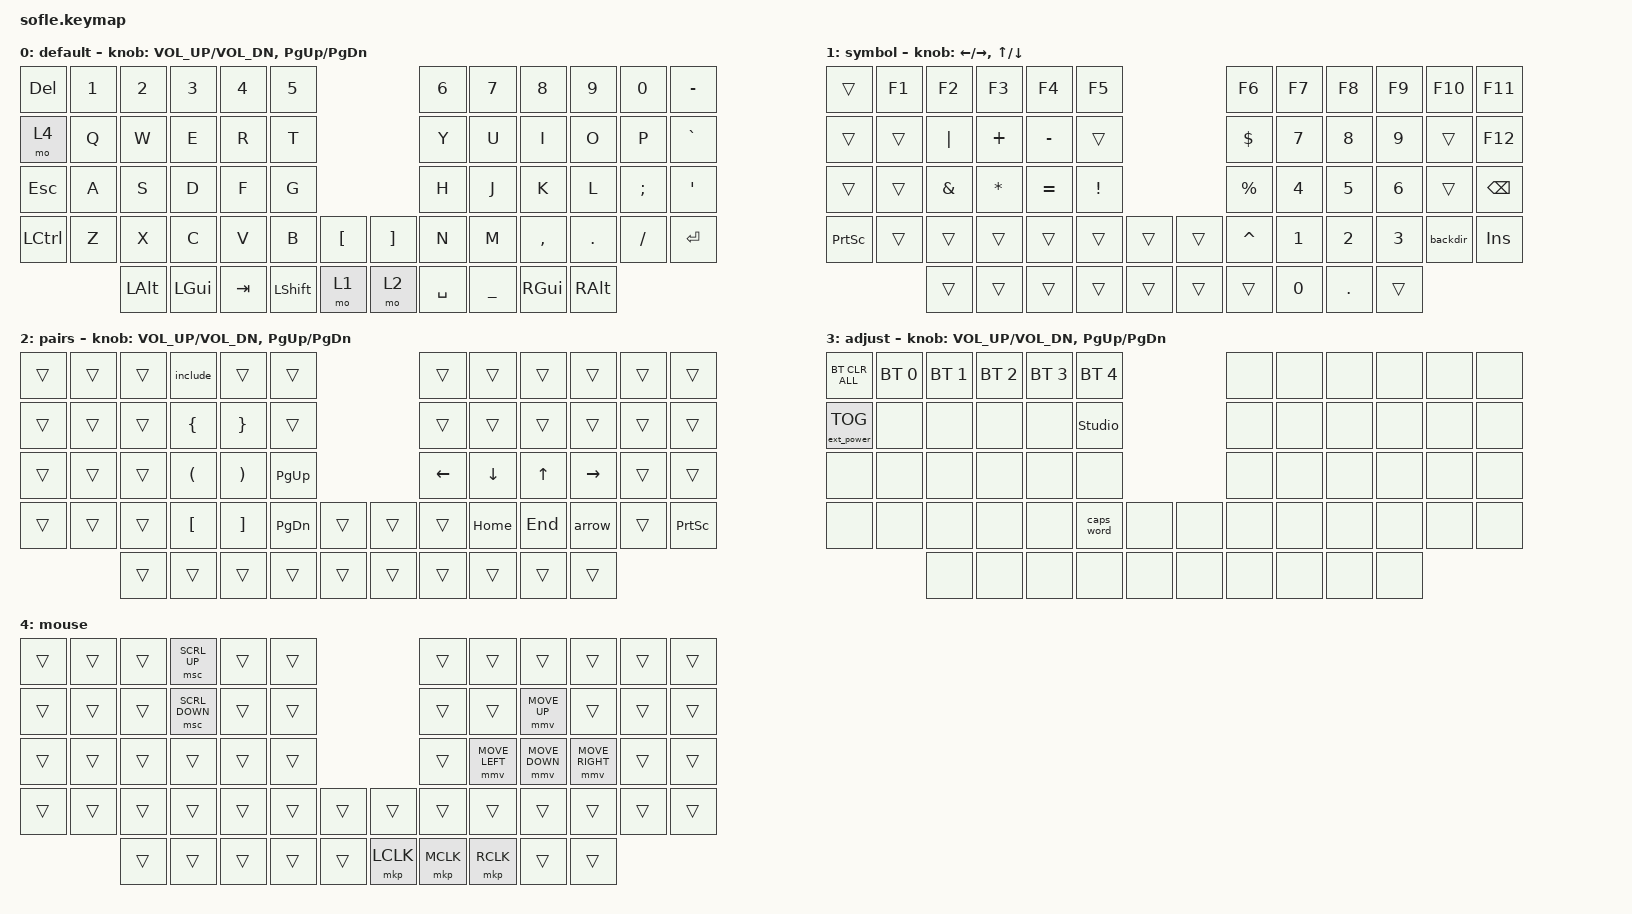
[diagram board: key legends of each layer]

/*
 * Copyright (c) 2020 The ZMK Contributors
 *
 * SPDX-License-Identifier: MIT
 */

#include <behaviors.dtsi>
#include <dt-bindings/zmk/bt.h>
#include <dt-bindings/zmk/ext_power.h>
#include <dt-bindings/zmk/keys.h>
#include <dt-bindings/zmk/pointing.h>

#define BASE 0
#define LOWER 1
#define RAISE 2
#define ADJUST 3
#define extra_layer 4

/ {
    // Activate ADJUST layer by pressing raise and lower

    conditional_layers {
        compatible = "zmk,conditional-layers";

        adjust_layer {
            if-layers = <1 2>;
            then-layer = <3>;
        };
    };

    combos {
        compatible = "zmk,combos";

        backspace {
            bindings = <&kp BACKSPACE>;
            key-positions = <32 31>;
            layers = <0>;
        };
    };

    behaviors {
        caps: caps {
            compatible = "zmk,behavior-caps-word";
            label = "CAPS";
            #binding-cells = <0>;
            continue-list = <POUND MINUS BACKSPACE UNDERSCORE>;
        };
    };

    macros {
        arrow: arrow {
            compatible = "zmk,behavior-macro";
            #binding-cells = <0>;
            bindings = <&kp MINUS &kp GREATER_THAN>;
            label = "ARROW";
        };

        backdir: backdir {
            compatible = "zmk,behavior-macro";
            #binding-cells = <0>;
            bindings = <&kp DOT &kp DOT &kp FSLH>;
            label = "BACKDIR";
        };

        include: include {
            compatible = "zmk,behavior-macro";
            #binding-cells = <0>;
            bindings = <&kp POUND &kp I &kp N &kp C &kp L &kp U &kp D &kp E &kp SPACE>;
            label = "INCLUDE";
        };
    };

    keymap {
        compatible = "zmk,keymap";

        default_layer {
            display-name = "default";

            // ------------------------------------------------------------------------------------------------------------
            // |   `   |  1  |  2  |  3   |  4   |  5   |                   |  6   |  7    |  8    |  9   |   0   |       |
            // |  ESC  |  Q  |  W  |  E   |  R   |  T   |                   |  Y   |  U    |  I    |  O   |   P   | BKSPC |
            // |  TAB  |  A  |  S  |  D   |  F   |  G   |                   |  H   |  J    |  K    |  L   |   ;   |   '   |
            // | SHIFT |  Z  |  X  |  C   |  V   |  B   |  MUTE  |  |       |  N   |  M    |  ,    |  .   |   /   | SHIFT |
            //               | GUI | ALT  | CTRL | LOWER|  ENTER |  | SPACE | RAISE| CTRL  | ALT   | GUI  |

            bindings = <
&kp DELETE        &kp N1  &kp N2        &kp N3        &kp N4   &kp N5                                &kp N6     &kp N7          &kp N8         &kp N9         &kp N0         &kp MINUS
&mo 4             &kp Q   &kp W         &kp E         &kp R    &kp T                                 &kp Y      &kp U           &kp I          &kp O          &kp P          &kp GRAVE
&kp ESCAPE        &kp A   &kp S         &kp D         &kp F    &kp G                                 &kp H      &kp J           &kp K          &kp L          &kp SEMICOLON  &kp SQT
&kp LEFT_CONTROL  &kp Z   &kp X         &kp C         &kp V    &kp B           &kp LBKT    &kp RBKT  &kp N      &kp M           &kp COMMA      &kp DOT        &kp FSLH       &kp ENTER
                          &kp LEFT_ALT  &kp LEFT_GUI  &kp TAB  &kp LEFT_SHIFT  &mo 1       &mo 2     &kp SPACE  &kp UNDERSCORE  &kp RIGHT_GUI  &kp RIGHT_ALT
            >;

            sensor-bindings = <&inc_dec_kp C_VOL_UP C_VOL_DN &inc_dec_kp PG_UP PG_DN>;
        };

        lower_layer {
            display-name = "symbol";

            // TODO: Some binds are waiting for shifted keycode support.
            // ------------------------------------------------------------------------------------------------------------
            // |       |  F1 |  F2 |  F3  |  F4  |  F5  |                   |  F6  |  F7   |  F8   |  F9  |  F10  |  F11  |
            // |   `   |  1  |  2  |  3   |  4   |  5   |                   |  6   |  7    |  8    |  9   |   0   |  F12  |
            // |       |  !  |  @  |  #   |  $   |  %   |                   |  ^   |  &    |  *    |  (   |   )   |   |   |
            // |       |  =  |  -  |  +   |  {   |  }   |        |  |       |  [   |  ]    |  ;    |  :   |   \   |       |
            //               |     |      |      |      |        |  |       |      |       |       |      |

            bindings = <
&trans           &kp F1  &kp F2         &kp F3        &kp F4     &kp F5                             &kp F6       &kp F7        &kp F8        &kp F9        &kp F10   &kp F11
&trans           &trans  &kp PIPE       &kp PLUS      &kp MINUS  &trans                             &kp DOLLAR   &kp NUMBER_7  &kp NUMBER_8  &kp NUMBER_9  &trans    &kp F12
&trans           &trans  &kp AMPERSAND  &kp ASTERISK  &kp EQUAL  &kp EXCLAMATION                    &kp PERCENT  &kp NUMBER_4  &kp NUMBER_5  &kp NUMBER_6  &trans    &kp BACKSPACE
&kp PRINTSCREEN  &trans  &trans         &trans        &trans     &trans           &trans    &trans  &kp CARET    &kp NUMBER_1  &kp NUMBER_2  &kp NUMBER_3  &backdir  &kp INS
                         &trans         &trans        &trans     &trans           &trans    &trans  &trans       &kp NUMBER_0  &kp PERIOD    &trans
            >;

            sensor-bindings =
                <&inc_dec_kp LEFT_ARROW RIGHT_ARROW>,
                <&inc_dec_kp UP_ARROW DOWN_ARROW>;
        };

        raise_layer {
            display-name = "pairs";

            // ------------------------------------------------------------------------------------------------------------
            // | BTCLR | BT1  | BT2  |  BT3  |  BT4  |  BT5 |                |      |      |       |      |       |       |
            // |       | INS  | PSCR | GUI   |       |      |                | PGUP |      |   ^   |      |       |       |
            // |       | ALT  | CTRL | SHIFT |       | CAPS |                | PGDN |   <- |   v   |  ->  |  DEL  | BKSPC |
            // |       | UNDO | CUT  | COPY  | PASTE |      |      |  |      |      |      |       |      |       |       |
            //                |      |       |       |      |      |  |      |      |      |       |      |

            bindings = <
&trans  &trans  &trans  &include              &trans                 &trans                           &trans    &trans    &trans   &trans     &trans  &trans
&trans  &trans  &trans  &kp LEFT_BRACE        &kp RIGHT_BRACE        &trans                           &trans    &trans    &trans   &trans     &trans  &trans
&trans  &trans  &trans  &kp LEFT_PARENTHESIS  &kp RIGHT_PARENTHESIS  &kp PAGE_UP                      &kp LEFT  &kp DOWN  &kp UP   &kp RIGHT  &trans  &trans
&trans  &trans  &trans  &kp LEFT_BRACKET      &kp RIGHT_BRACKET      &kp PAGE_DOWN  &trans    &trans  &trans    &kp HOME  &kp END  &arrow     &trans  &kp PRINTSCREEN
                &trans  &trans                &trans                 &trans         &trans    &trans  &trans    &trans    &trans   &trans
            >;

            sensor-bindings = <&inc_dec_kp C_VOL_UP C_VOL_DN &inc_dec_kp PG_UP PG_DN>;
        };

        adjust_layer {
            // ----------------------------------------------------------------------------------------------------------------------------
            // | BTCLR  |  BT1    |  BT2    |   BT3   |   BT4   |   BT5   |                  |      |      |       |      |       |       |
            // | EXTPWR | RGB_HUD | RGB_HUI | RGB_SAD | RGB_SAI | RGB_EFF |                  |      |      |       |      |       |       |
            // |        | RGB_BRD | RGB_BRI |         |         |         |                  |      |      |       |      |       |       |
            // |        |         |         |         |         |         | RGB_TOG | |      |      |      |       |      |       |       |
            //                    |         |         |         |         |         | |      |      |      |       |      |

            display-name = "adjust";
            bindings = <
&bt BT_CLR_ALL     &bt BT_SEL 0  &bt BT_SEL 1  &bt BT_SEL 2  &bt BT_SEL 3  &bt BT_SEL 4                    &none  &none  &none  &none  &none  &none
&ext_power EP_TOG  &none         &none         &none         &none         &studio_unlock                  &none  &none  &none  &none  &none  &none
&none              &none         &none         &none         &none         &none                           &none  &none  &none  &none  &none  &none
&none              &none         &none         &none         &none         &caps_word      &none    &none  &none  &none  &none  &none  &none  &none
                                 &none         &none         &none         &none           &none    &none  &none  &none  &none  &none
            >;

            sensor-bindings = <&inc_dec_kp C_VOL_UP C_VOL_DN &inc_dec_kp PG_UP PG_DN>;
        };

        mouse {
            bindings = <
&trans  &trans  &trans  &msc SCRL_UP    &trans  &trans                       &trans     &trans          &trans          &trans           &trans  &trans
&trans  &trans  &trans  &msc SCRL_DOWN  &trans  &trans                       &trans     &trans          &mmv MOVE_UP    &trans           &trans  &trans
&trans  &trans  &trans  &trans          &trans  &trans                       &trans     &mmv MOVE_LEFT  &mmv MOVE_DOWN  &mmv MOVE_RIGHT  &trans  &trans
&trans  &trans  &trans  &trans          &trans  &trans  &trans    &trans     &trans     &trans          &trans          &trans           &trans  &trans
                &trans  &trans          &trans  &trans  &trans    &mkp LCLK  &mkp MCLK  &mkp RCLK       &trans          &trans
            >;
        };
    };
};

